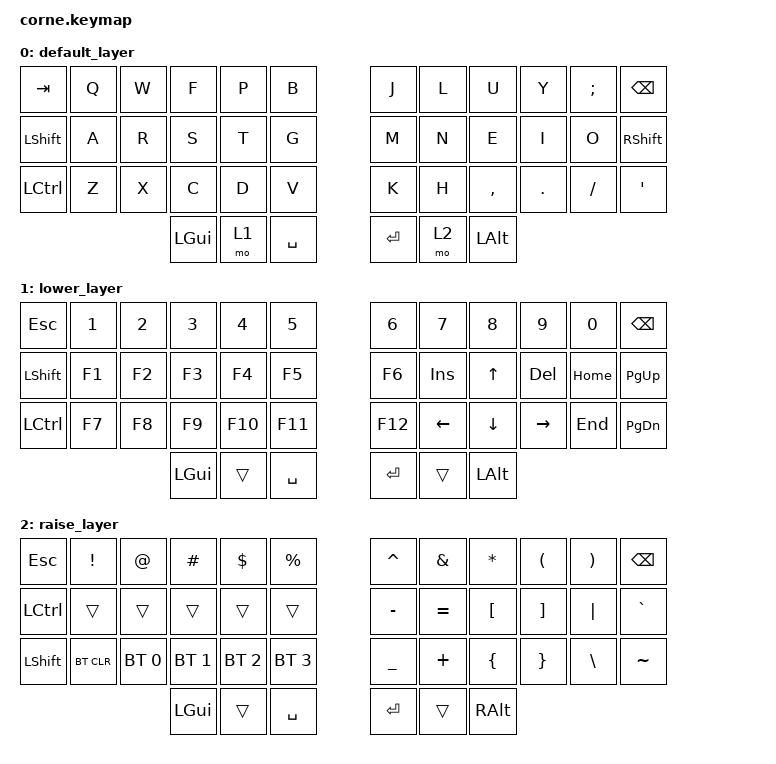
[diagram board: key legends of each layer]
/*
 * Copyright (c) 2020 The ZMK Contributors
 *
 * SPDX-License-Identifier: MIT
 */

#include <behaviors.dtsi>
#include <dt-bindings/zmk/keys.h>
#include <dt-bindings/zmk/bt.h>

/ {
        keymap {
                compatible = "zmk,keymap";

                default_layer {
// -----------------------------------------------------------------------------------------
// |  TAB |  Q  |  W  |  F  |  P  |  B  |   |  J  |  L   |  U  |  Y  |  ;  | BSPC |
// | SHFT |  A  |  R  |  S  |  T  |  G  |   |  M  |  N   |  E  |  I  |  O  | SHFT |
// | CTRL |  Z  |  X  |  C  |  D  |  V  |   |  K  |  H   |  ,  |  .  |  /  |  '   |
//                    | GUI | LWR | SPC |   | ENT | RSE  | ALT |
                        bindings = <
   &kp TAB   &kp Q &kp W &kp F &kp P &kp B   &kp J &kp L  &kp U     &kp Y   &kp SEMI &kp BSPC
   &kp LSHFT &kp A &kp R &kp S &kp T &kp G   &kp M &kp N  &kp E     &kp I   &kp O    &kp RSHFT
   &kp LCTRL &kp Z &kp X &kp C &kp D &kp V   &kp K &kp H  &kp COMMA &kp DOT &kp FSLH &kp SQT
                  &kp LGUI &mo 1 &kp SPACE   &kp RET &mo 2 &kp LALT
                        >;
                };
                lower_layer {
// -----------------------------------------------------------------------------------------
// |  ESC |  1  |  2  |  3  |  4  |  5  |   |  6  |  7  |  8  |  9  |  0  | BSPC |
// | SHFT | F1  | F2  | F3  | F4  | F5  |   | F6  | INS |  UP | DEL | HOME| PG_UP|
// | CTRL | F7  | F8  | F9  | F10 | F11 |   | F12 | LEFT| DOWN|RIGHT| END | PG_DN|
//                    | GUI |     | SPC |   | ENT | LYR3| ALT |
                        bindings = <
   &kp ESC    &kp N1  &kp N2  &kp N3  &kp N4  &kp N5   &kp N6  &kp N7   &kp N8   &kp N9    &kp N0   &kp BSPC
   &kp LSHFT  &kp F1  &kp F2  &kp F3  &kp F4  &kp F5   &kp F6  &kp INS  &kp UP   &kp DEL   &kp HOME &kp PG_UP
   &kp LCTRL  &kp F7  &kp F8  &kp F9  &kp F10 &kp F11  &kp F12 &kp LEFT &kp DOWN &kp RIGHT &kp END  &kp PG_DN
                           &kp LGUI &trans &kp SPACE   &kp RET &trans &kp LALT
                        >;
                };

                raise_layer {
// -----------------------------------------------------------------------------------------
// |  EXC |  !  |  @  |  #  |  $  |  %  |   |  ^  |  &  |  *  |  (  |  )  | BSPC |
// | CTRL |     |     |     |     |     |   |  -  |  =  |  [  |  ]  |  "|"  |  `   |
// | SHFT | BT_CLR | BT_1 | BT_2 | BT_3 | BT_4 |   |  _  |  +  |  {  |  }  | \ |  ~   |
//                    | GUI |     | SPC |   | ENT |     | ALT |
                        bindings = <
   &kp  ESC  &kp EXCL &kp AT &kp HASH &kp DLLR &kp PRCNT   &kp CARET &kp AMPS  &kp ASTRK &kp LPAR &kp RPAR &kp BSPC
   &kp LCTRL &trans   &trans &trans   &trans   &trans      &kp MINUS &kp EQUAL &kp LBKT  &kp RBKT &kp PIPE &kp GRAVE
   &kp LSHFT &bt BT_CLR &bt BT_SEL 0 &bt BT_SEL 1 &bt BT_SEL 2 &bt BT_SEL 3      &kp UNDER &kp PLUS  &kp LBRC  &kp RBRC &kp BSLH &kp TILDE
                             &kp LGUI &trans    &kp SPACE   &kp RET   &trans    &kp RALT
                        >;
                };
        };
};


